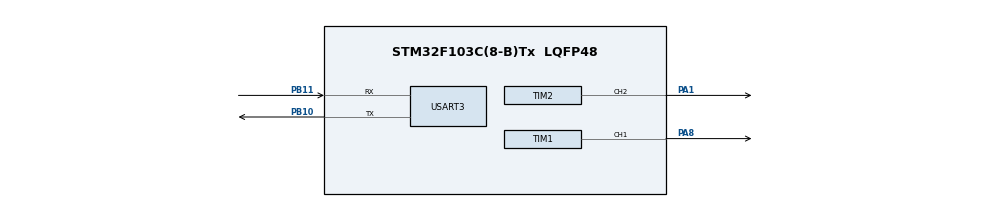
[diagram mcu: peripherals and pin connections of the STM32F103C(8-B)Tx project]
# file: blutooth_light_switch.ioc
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Dma.Request0=USART3_TX
Dma.Request1=USART3_RX
Dma.USART3_RX.1.Direction=DMA_PERIPH_TO_MEMORY
Dma.USART3_RX.1.Instance=DMA1_Channel3
Dma.USART3_RX.1.MemDataAlignment=DMA_MDATAALIGN_BYTE
Dma.USART3_RX.1.MemInc=DMA_MINC_ENABLE
Dma.USART3_RX.1.Mode=DMA_NORMAL
Dma.USART3_RX.1.PeriphDataAlignment=DMA_PDATAALIGN_BYTE
Dma.USART3_RX.1.PeriphInc=DMA_PINC_DISABLE
Dma.USART3_RX.1.Priority=DMA_PRIORITY_HIGH
Dma.USART3_TX.0.Direction=DMA_MEMORY_TO_PERIPH
Dma.USART3_TX.0.Instance=DMA1_Channel2
Dma.USART3_TX.0.MemDataAlignment=DMA_MDATAALIGN_BYTE
Dma.USART3_TX.0.MemInc=DMA_MINC_ENABLE
Dma.USART3_TX.0.Mode=DMA_NORMAL
Dma.USART3_TX.0.PeriphDataAlignment=DMA_PDATAALIGN_BYTE
Dma.USART3_TX.0.PeriphInc=DMA_PINC_DISABLE
Dma.USART3_TX.0.Priority=DMA_PRIORITY_LOW
Mcu.Family=STM32F1
Mcu.Name=STM32F103C(8-B)Tx
Mcu.Package=LQFP48
NVIC.DMA1_Channel2_IRQn=true\:0\:0\:false\:false\:true\:false\:true\:true
NVIC.DMA1_Channel3_IRQn=true\:0\:0\:false\:false\:true\:false\:true\:true
NVIC.PriorityGroup=NVIC_PRIORITYGROUP_4
NVIC.TIM4_IRQn=true\:15\:0\:false\:false\:true\:false\:true\:true
NVIC.TimeBase=TIM4_IRQn
NVIC.TimeBaseIP=TIM4
NVIC.USART3_IRQn=true\:5\:0\:true\:false\:true\:false\:true\:true
PA1.Signal=S_TIM2_CH2
PA13.Mode=JTAG_4_pins
PA13.Signal=SYS_JTMS-SWDIO
PA14.Mode=JTAG_4_pins
PA14.Signal=SYS_JTCK-SWCLK
PA15.Mode=JTAG_4_pins
PA15.Signal=SYS_JTDI
PA8.Signal=S_TIM1_CH1
PB10.Mode=Asynchronous
PB10.Signal=USART3_TX
PB11.Mode=Asynchronous
PB11.Signal=USART3_RX
PB3.Mode=JTAG_4_pins
PB3.Signal=SYS_JTDO-TRACESWO
ProjectManager.HeapSize=0x200
ProjectManager.StackSize=0x400
ProjectManager.TargetToolchain=CMake
RCC.AHBCLKDivider=RCC_SYSCLK_DIV4
RCC.AHBFreq_Value=2000000
RCC.APB1Freq_Value=2000000
RCC.APB1TimFreq_Value=2000000
RCC.APB2Freq_Value=2000000
RCC.APB2TimFreq_Value=2000000
RCC.HCLKFreq_Value=2000000
SH.S_TIM1_CH1.0=TIM1_CH1,PWM Generation1 CH1
SH.S_TIM2_CH2.0=TIM2_CH2,PWM Generation2 CH2
TIM1.Channel-PWM\ Generation1\ CH1=TIM_CHANNEL_1
TIM1.Period=40000
TIM2.Channel-PWM\ Generation2\ CH2=TIM_CHANNEL_2
TIM2.Period=40000
USART3.VirtualMode=VM_ASYNC
VP_SYS_VS_tim4.Mode=TIM4
board=custom

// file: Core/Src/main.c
/* USER CODE BEGIN Header */
/**
  ******************************************************************************
  * @file           : main.c
  * @brief          : Main program body
  ******************************************************************************
  * @attention
  *
  * Copyright (c) 2026 STMicroelectronics.
  * All rights reserved.
  *
  * This software is licensed under terms that can be found in the LICENSE file
  * in the root directory of this software component.
  * If no LICENSE file comes with this software, it is provided AS-IS.
  *
  ******************************************************************************
  */
/* USER CODE END Header */
#include "main.h"
#include "dma.h"
#include "tim.h"
#include "usart.h"
#include "gpio.h"

/* USER CODE BEGIN PV */
char commands[2]="IT";
enum LIGHT_STATUS{LIGHT_ON,LIGHT_OFF,INIT} light_status=INIT,current_status=INIT;
int16_t duty_init=3250,duty1=0,duty2=0;
/* USER CODE END PV */

void SystemClock_Config(void);

int main(void)
{

  /* MCU Configuration--------------------------------------------------------*/

  /* Reset of all peripherals, Initializes the Flash interface and the Systick. */
  HAL_Init();

  /* Configure the system clock */
  SystemClock_Config();

  /* Initialize all configured peripherals */
  MX_GPIO_Init();
  MX_DMA_Init();
  MX_TIM2_Init();
  MX_USART3_UART_Init();
  MX_TIM1_Init();
  /* USER CODE BEGIN 2 */
  HAL_TIM_PWM_Start(&htim1,TIM_CHANNEL_1);
  HAL_TIM_PWM_Start(&htim2,TIM_CHANNEL_2);
  __HAL_UART_ENABLE_IT(&huart3,UART_IT_IDLE);
  /* USER CODE END 2 */

  /* Infinite loop */
  /* USER CODE BEGIN WHILE */
  // __HAL_TIM_SET_COMPARE(&htim1,TIM_CHANNEL_1,duty_init);
  // __HAL_TIM_SET_COMPARE(&htim2,TIM_CHANNEL_2,duty_init);

  while (1)
  {
      HAL_UARTEx_ReceiveToIdle_DMA(&huart3, (uint8_t*)commands, sizeof(commands));

      if(commands[1]=='N')
      {
        light_status=LIGHT_ON;
      }
      else if(commands[1]=='F')
      {
        light_status=LIGHT_OFF;
      }

      switch(light_status)
      {
        case LIGHT_ON : duty1=3800,duty2=2700; break;
        case LIGHT_OFF : duty1=2700,duty2=3800; break;
        case INIT : ; break;
        default : ;
      }

      if(current_status!=light_status)
      {
        if(duty1>duty2){current_status=LIGHT_ON;}
        else{current_status=LIGHT_OFF;}

        __HAL_TIM_SET_COMPARE(&htim1,TIM_CHANNEL_1,duty1);
        __HAL_TIM_SET_COMPARE(&htim2,TIM_CHANNEL_2,duty2);
        HAL_Delay(1000);

        __HAL_TIM_SET_COMPARE(&htim1,TIM_CHANNEL_1,2700);
        __HAL_TIM_SET_COMPARE(&htim2,TIM_CHANNEL_2,2700);
        HAL_Delay(1000);
      }

    /* USER CODE END WHILE */

  }
}

void SystemClock_Config(void)
{
  RCC_OscInitTypeDef RCC_OscInitStruct = {0};
  RCC_ClkInitTypeDef RCC_ClkInitStruct = {0};

  /** Initializes the RCC Oscillators according to the specified parameters
  * in the RCC_OscInitTypeDef structure.
  */
  RCC_OscInitStruct.OscillatorType = RCC_OSCILLATORTYPE_HSI;
  RCC_OscInitStruct.HSIState = RCC_HSI_ON;
  RCC_OscInitStruct.HSICalibrationValue = RCC_HSICALIBRATION_DEFAULT;
  RCC_OscInitStruct.PLL.PLLState = RCC_PLL_NONE;
  if (HAL_RCC_OscConfig(&RCC_OscInitStruct) != HAL_OK)
  {
    Error_Handler();
  }

  /** Initializes the CPU, AHB and APB buses clocks
  */
  RCC_ClkInitStruct.ClockType = RCC_CLOCKTYPE_HCLK|RCC_CLOCKTYPE_SYSCLK
                              |RCC_CLOCKTYPE_PCLK1|RCC_CLOCKTYPE_PCLK2;
  RCC_ClkInitStruct.SYSCLKSource = RCC_SYSCLKSOURCE_HSI;
  RCC_ClkInitStruct.AHBCLKDivider = RCC_SYSCLK_DIV4;
  RCC_ClkInitStruct.APB1CLKDivider = RCC_HCLK_DIV1;
  RCC_ClkInitStruct.APB2CLKDivider = RCC_HCLK_DIV1;

  if (HAL_RCC_ClockConfig(&RCC_ClkInitStruct, FLASH_LATENCY_0) != HAL_OK)
  {
    Error_Handler();
  }
}

void HAL_TIM_PeriodElapsedCallback(TIM_HandleTypeDef *htim)
{
  if (htim->Instance == TIM4)
  {
    HAL_IncTick();
  }
}

void Error_Handler(void)
{
  __disable_irq();
  while (1)
  {
  }
}
